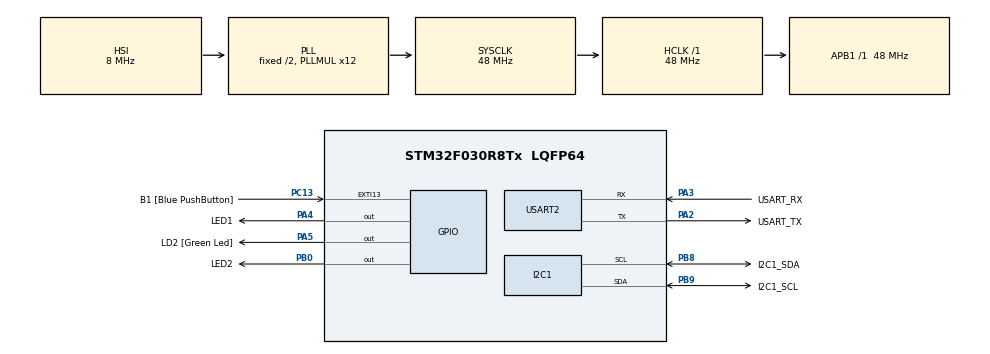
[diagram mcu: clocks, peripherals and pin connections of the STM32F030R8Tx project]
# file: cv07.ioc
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FREERTOS.Queues01=xVisualQueue,16,uint16_t,0,Dynamic,NULL,NULL
FREERTOS.Tasks01=defaultTask,0,128,StartDefaultTask,Default,NULL,Dynamic,NULL,NULL;VisualTask,-3,128,StartVisualTask,Default,NULL,Dynamic,NULL,NULL;AcceleroTask,-3,128,StartAcceleroTask,Default,NULL,Dynamic,NULL,NULL
I2C1.Timing=0x00201D2B
Mcu.Family=STM32F0
Mcu.Name=STM32F030R8Tx
Mcu.Package=LQFP64
NVIC.TIM14_IRQn=true\:3\:0\:false\:false\:true\:false\:false\:true\:true
NVIC.TimeBase=TIM14_IRQn
NVIC.TimeBaseIP=TIM14
PA13.GPIO_Label=TMS
PA13.Mode=Serial_Wire
PA13.Signal=SYS_SWDIO
PA14.GPIO_Label=TCK
PA14.Mode=Serial_Wire
PA14.Signal=SYS_SWCLK
PA2.GPIO_Label=USART_TX
PA2.GPIO_Mode=GPIO_MODE_AF_PP
PA2.GPIO_PuPd=GPIO_NOPULL
PA2.GPIO_Speed=GPIO_SPEED_FREQ_LOW
PA2.Mode=Asynchronous
PA2.Signal=USART2_TX
PA3.GPIO_Label=USART_RX
PA3.GPIO_Mode=GPIO_MODE_AF_PP
PA3.GPIO_PuPd=GPIO_NOPULL
PA3.GPIO_Speed=GPIO_SPEED_FREQ_LOW
PA3.Mode=Asynchronous
PA3.Signal=USART2_RX
PA4.GPIO_Label=LED1
PA4.Signal=GPIO_Output
PA5.GPIO_Label=LD2 [Green Led]
PA5.GPIO_Mode=GPIO_MODE_OUTPUT_PP
PA5.GPIO_PuPd=GPIO_NOPULL
PA5.GPIO_Speed=GPIO_SPEED_FREQ_LOW
PA5.Signal=GPIO_Output
PB0.GPIO_Label=LED2
PB0.Signal=GPIO_Output
PB8.GPIO_Label=I2C1_SDA
PB8.Mode=I2C
PB8.Signal=I2C1_SCL
PB9.GPIO_Label=I2C1_SCL
PB9.Mode=I2C
PB9.Signal=I2C1_SDA
PC13.GPIO_Label=B1 [Blue PushButton]
PC13.GPIO_ModeDefaultEXTI=GPIO_MODE_IT_FALLING
PC13.Signal=GPXTI13
PC14-OSC32_IN.Mode=LSE-External-Oscillator
PC14-OSC32_IN.Signal=RCC_OSC32_IN
PC15-OSC32_OUT.Mode=LSE-External-Oscillator
PC15-OSC32_OUT.Signal=RCC_OSC32_OUT
PF0-OSC_IN.Mode=HSE-External-Clock-Source
PF0-OSC_IN.Signal=RCC_OSC_IN
PF1-OSC_OUT.Signal=RCC_OSC_OUT
ProjectManager.HeapSize=0x200
ProjectManager.StackSize=0x400
ProjectManager.TargetToolchain=STM32CubeIDE
RCC.AHBFreq_Value=48000000
RCC.APB1Freq_Value=48000000
RCC.APB1TimFreq_Value=48000000
RCC.HCLKFreq_Value=48000000
RCC.PLLMUL=RCC_PLL_MUL12
RCC.SYSCLKFreq_VALUE=48000000
RCC.SYSCLKSource=RCC_SYSCLKSOURCE_PLLCLK
USART2.VirtualMode-Asynchronous=VM_ASYNC
VP_FREERTOS_VS_CMSIS_V1.Mode=CMSIS_V1
VP_SYS_VS_tim14.Mode=TIM14
board=NUCLEO-F030R8

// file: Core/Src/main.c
/* USER CODE BEGIN Header */
/**
  ******************************************************************************
  * @file           : main.c
  * @brief          : Main program body
  ******************************************************************************
  * @attention
  *
  * Copyright (c) 2024 STMicroelectronics.
  * All rights reserved.
  *
  * This software is licensed under terms that can be found in the LICENSE file
  * in the root directory of this software component.
  * If no LICENSE file comes with this software, it is provided AS-IS.
  *
  ******************************************************************************
  */
/* USER CODE END Header */
#include "main.h"
#include "cmsis_os.h"

/* USER CODE BEGIN Includes */
#include "lis2dw12_reg.h"
#include "stdio.h"
/* USER CODE END Includes */

I2C_HandleTypeDef hi2c1;

UART_HandleTypeDef huart2;

osThreadId defaultTaskHandle;
osThreadId VisualTaskHandle;
osThreadId AcceleroTaskHandle;
osMessageQId xVisualQueueHandle;

void SystemClock_Config(void);
static void MX_GPIO_Init(void);
static void MX_USART2_UART_Init(void);
static void MX_I2C1_Init(void);
void StartDefaultTask(void const * argument);
void StartVisualTask(void const * argument);
void StartAcceleroTask(void const * argument);

/* USER CODE BEGIN PFP */
static int32_t platform_write(void *handle, uint8_t reg, const uint8_t *bufp, uint16_t len);
static int32_t platform_read(void *handle, uint8_t reg, uint8_t *bufp, uint16_t len);
static stmdev_ctx_t lis2dw12 = {
 .write_reg = platform_write,
 .read_reg = platform_read,
 .handle = &hi2c1,
};
/* USER CODE END PFP */

/* USER CODE BEGIN 0 */
int _write(int file, char const *buf, int n)
{
	/* stdout redirection to UART2 */
	HAL_UART_Transmit(&huart2, (uint8_t*)(buf), n, HAL_MAX_DELAY);
	return n;
}
/*
 * Replace the functions "platform_write" and "platform_read" with your
 * platform specific read and write function.
 */
static int32_t platform_write(void *handle, uint8_t reg, const uint8_t *bufp, uint16_t len) {
	HAL_I2C_Mem_Write(handle, LIS2DW12_I2C_ADD_H, reg, I2C_MEMADD_SIZE_8BIT, (uint8_t *)bufp, len, 1000);
	return 0;
}
static int32_t platform_read(void *handle, uint8_t reg, uint8_t *bufp,
		uint16_t len) {
	HAL_I2C_Mem_Read(handle, LIS2DW12_I2C_ADD_H, reg, I2C_MEMADD_SIZE_8BIT,
			bufp, len, 1000);
	return 0;
}
/* USER CODE END 0 */

int main(void)
{

  /* MCU Configuration--------------------------------------------------------*/

  /* Reset of all peripherals, Initializes the Flash interface and the Systick. */
  HAL_Init();

  /* Configure the system clock */
  SystemClock_Config();

  /* Initialize all configured peripherals */
  MX_GPIO_Init();
  MX_USART2_UART_Init();
  MX_I2C1_Init();

  /* Create the queue(s) */
  /* definition and creation of xVisualQueue */
  osMessageQDef(xVisualQueue, 16, uint16_t);
  xVisualQueueHandle = osMessageCreate(osMessageQ(xVisualQueue), NULL);

  /* Create the thread(s) */
  /* definition and creation of defaultTask */
  osThreadDef(defaultTask, StartDefaultTask, osPriorityNormal, 0, 128);
  defaultTaskHandle = osThreadCreate(osThread(defaultTask), NULL);

  /* definition and creation of VisualTask */
  osThreadDef(VisualTask, StartVisualTask, osPriorityIdle, 0, 128);
  VisualTaskHandle = osThreadCreate(osThread(VisualTask), NULL);

  /* definition and creation of AcceleroTask */
  osThreadDef(AcceleroTask, StartAcceleroTask, osPriorityIdle, 0, 128);
  AcceleroTaskHandle = osThreadCreate(osThread(AcceleroTask), NULL);

  /* Start scheduler */
  osKernelStart();

  /* We should never get here as control is now taken by the scheduler */

  /* Infinite loop */
  while (1)
  {

  }
}

void SystemClock_Config(void)
{
  RCC_OscInitTypeDef RCC_OscInitStruct = {0};
  RCC_ClkInitTypeDef RCC_ClkInitStruct = {0};
  RCC_PeriphCLKInitTypeDef PeriphClkInit = {0};

  /** Initializes the RCC Oscillators according to the specified parameters
  * in the RCC_OscInitTypeDef structure.
  */
  RCC_OscInitStruct.OscillatorType = RCC_OSCILLATORTYPE_HSI;
  RCC_OscInitStruct.HSIState = RCC_HSI_ON;
  RCC_OscInitStruct.HSICalibrationValue = RCC_HSICALIBRATION_DEFAULT;
  RCC_OscInitStruct.PLL.PLLState = RCC_PLL_ON;
  RCC_OscInitStruct.PLL.PLLSource = RCC_PLLSOURCE_HSI;
  RCC_OscInitStruct.PLL.PLLMUL = RCC_PLL_MUL12;
  RCC_OscInitStruct.PLL.PREDIV = RCC_PREDIV_DIV1;
  if (HAL_RCC_OscConfig(&RCC_OscInitStruct) != HAL_OK)
  {
    Error_Handler();
  }

  /** Initializes the CPU, AHB and APB buses clocks
  */
  RCC_ClkInitStruct.ClockType = RCC_CLOCKTYPE_HCLK|RCC_CLOCKTYPE_SYSCLK
                              |RCC_CLOCKTYPE_PCLK1;
  RCC_ClkInitStruct.SYSCLKSource = RCC_SYSCLKSOURCE_PLLCLK;
  RCC_ClkInitStruct.AHBCLKDivider = RCC_SYSCLK_DIV1;
  RCC_ClkInitStruct.APB1CLKDivider = RCC_HCLK_DIV1;

  if (HAL_RCC_ClockConfig(&RCC_ClkInitStruct, FLASH_LATENCY_1) != HAL_OK)
  {
    Error_Handler();
  }
  PeriphClkInit.PeriphClockSelection = RCC_PERIPHCLK_I2C1;
  PeriphClkInit.I2c1ClockSelection = RCC_I2C1CLKSOURCE_HSI;
  if (HAL_RCCEx_PeriphCLKConfig(&PeriphClkInit) != HAL_OK)
  {
    Error_Handler();
  }
}

static void MX_I2C1_Init(void)
{

  hi2c1.Instance = I2C1;
  hi2c1.Init.Timing = 0x00201D2B;
  hi2c1.Init.OwnAddress1 = 0;
  hi2c1.Init.AddressingMode = I2C_ADDRESSINGMODE_7BIT;
  hi2c1.Init.DualAddressMode = I2C_DUALADDRESS_DISABLE;
  hi2c1.Init.OwnAddress2 = 0;
  hi2c1.Init.OwnAddress2Masks = I2C_OA2_NOMASK;
  hi2c1.Init.GeneralCallMode = I2C_GENERALCALL_DISABLE;
  hi2c1.Init.NoStretchMode = I2C_NOSTRETCH_DISABLE;
  if (HAL_I2C_Init(&hi2c1) != HAL_OK)
  {
    Error_Handler();
  }

  /** Configure Analogue filter
  */
  if (HAL_I2CEx_ConfigAnalogFilter(&hi2c1, I2C_ANALOGFILTER_ENABLE) != HAL_OK)
  {
    Error_Handler();
  }

  /** Configure Digital filter
  */
  if (HAL_I2CEx_ConfigDigitalFilter(&hi2c1, 0) != HAL_OK)
  {
    Error_Handler();
  }

}

static void MX_USART2_UART_Init(void)
{

  huart2.Instance = USART2;
  huart2.Init.BaudRate = 38400;
  huart2.Init.WordLength = UART_WORDLENGTH_8B;
  huart2.Init.StopBits = UART_STOPBITS_1;
  huart2.Init.Parity = UART_PARITY_NONE;
  huart2.Init.Mode = UART_MODE_TX_RX;
  huart2.Init.HwFlowCtl = UART_HWCONTROL_NONE;
  huart2.Init.OverSampling = UART_OVERSAMPLING_16;
  huart2.Init.OneBitSampling = UART_ONE_BIT_SAMPLE_DISABLE;
  huart2.AdvancedInit.AdvFeatureInit = UART_ADVFEATURE_NO_INIT;
  if (HAL_UART_Init(&huart2) != HAL_OK)
  {
    Error_Handler();
  }

}

static void MX_GPIO_Init(void)
{
  GPIO_InitTypeDef GPIO_InitStruct = {0};

  /* GPIO Ports Clock Enable */
  __HAL_RCC_GPIOC_CLK_ENABLE();
  __HAL_RCC_GPIOF_CLK_ENABLE();
  __HAL_RCC_GPIOA_CLK_ENABLE();
  __HAL_RCC_GPIOB_CLK_ENABLE();

  /*Configure GPIO pin Output Level */
  HAL_GPIO_WritePin(GPIOA, LED1_Pin|LD2_Pin, GPIO_PIN_RESET);

  /*Configure GPIO pin Output Level */
  HAL_GPIO_WritePin(LED2_GPIO_Port, LED2_Pin, GPIO_PIN_RESET);

  /*Configure GPIO pin : B1_Pin */
  GPIO_InitStruct.Pin = B1_Pin;
  GPIO_InitStruct.Mode = GPIO_MODE_IT_FALLING;
  GPIO_InitStruct.Pull = GPIO_NOPULL;
  HAL_GPIO_Init(B1_GPIO_Port, &GPIO_InitStruct);

  /*Configure GPIO pins : LED1_Pin LD2_Pin */
  GPIO_InitStruct.Pin = LED1_Pin|LD2_Pin;
  GPIO_InitStruct.Mode = GPIO_MODE_OUTPUT_PP;
  GPIO_InitStruct.Pull = GPIO_NOPULL;
  GPIO_InitStruct.Speed = GPIO_SPEED_FREQ_LOW;
  HAL_GPIO_Init(GPIOA, &GPIO_InitStruct);

  /*Configure GPIO pin : LED2_Pin */
  GPIO_InitStruct.Pin = LED2_Pin;
  GPIO_InitStruct.Mode = GPIO_MODE_OUTPUT_PP;
  GPIO_InitStruct.Pull = GPIO_NOPULL;
  GPIO_InitStruct.Speed = GPIO_SPEED_FREQ_LOW;
  HAL_GPIO_Init(LED2_GPIO_Port, &GPIO_InitStruct);

}

void StartDefaultTask(void const * argument)
{
  /* USER CODE BEGIN 5 */
	/* Infinite loop */
	for (;;) {
		osDelay(1);
//		int16_t msg;
//
//		xQueueSend(xVisualQueueHandle, &msg, 0);
//
//		msg = -5000;
//		xQueueSend(xVisualQueueHandle, &msg, 0);
//		osDelay(300);
//
//		msg = 0;
//		xQueueSend(xVisualQueueHandle, &msg, 0);
//		osDelay(300);
//
//		msg = 5000;
//		xQueueSend(xVisualQueueHandle, &msg, 0);
//		osDelay(300);
//
//		msg = 0;
//		xQueueSend(xVisualQueueHandle, &msg, 0);
//		osDelay(300);
	}
  /* USER CODE END 5 */
}

void StartVisualTask(void const * argument)
{
  /* USER CODE BEGIN StartVisualTask */
	/* Infinite loop */
	for (;;) {

		int16_t msg;
		if (xQueueReceive(xVisualQueueHandle, &msg, portMAX_DELAY)) {

			if (msg < -2000) {
				HAL_GPIO_WritePin(LED1_GPIO_Port, LED1_Pin, 0);
				HAL_GPIO_WritePin(LED2_GPIO_Port, LED2_Pin, 1);
			} else if (msg > 2000) {
				HAL_GPIO_WritePin(LED1_GPIO_Port, LED1_Pin, 1);
				HAL_GPIO_WritePin(LED2_GPIO_Port, LED2_Pin, 0);
			} else {
				HAL_GPIO_WritePin(LED1_GPIO_Port, LED1_Pin, 0);
				HAL_GPIO_WritePin(LED2_GPIO_Port, LED2_Pin, 0);
			}
		}

		osDelay(1);

	}
  /* USER CODE END StartVisualTask */
}

void StartAcceleroTask(void const * argument)
{
	/* USER CODE BEGIN StartAcceleroTask */
	uint8_t samples;
	int16_t raw_acceleration[3];
	lis2dw12_fifo_data_level_get(&lis2dw12, &samples);

	uint8_t whoamI = 0;
	lis2dw12_device_id_get(&lis2dw12, &whoamI);
	printf("LIS2DW12_ID %s\n", (whoamI == LIS2DW12_ID) ? "OK" : "FAIL");

	lis2dw12_full_scale_set(&lis2dw12, LIS2DW12_2g);
	lis2dw12_power_mode_set(&lis2dw12, LIS2DW12_CONT_LOW_PWR_LOW_NOISE_2);
	lis2dw12_block_data_update_set(&lis2dw12, PROPERTY_ENABLE);
	// enable continuous FIFO
	lis2dw12_fifo_mode_set(&lis2dw12, LIS2DW12_STREAM_MODE);
	// enable part from power-down
	lis2dw12_data_rate_set(&lis2dw12, LIS2DW12_XL_ODR_25Hz);
	/* Infinite loop */
	for (;;) {
		for (uint8_t i = 0; i < samples; i++) {
			// Read acceleration data
			lis2dw12_acceleration_raw_get(&lis2dw12, raw_acceleration);

		}
		xQueueSend(xVisualQueueHandle, &raw_acceleration[0], 0);
		static uint8_t cnt;
		if (++cnt > 20){
			printf("X=%d Y=%d Z=%d\n", raw_acceleration[0], raw_acceleration[1],raw_acceleration[2]);
			cnt = 0;
		}
		osDelay(1);
	}
	/* USER CODE END StartAcceleroTask */
}

void HAL_TIM_PeriodElapsedCallback(TIM_HandleTypeDef *htim)
{
  if (htim->Instance == TIM14) {
    HAL_IncTick();
  }
}

void Error_Handler(void)
{
  __disable_irq();
  while (1)
  {
  }
}
